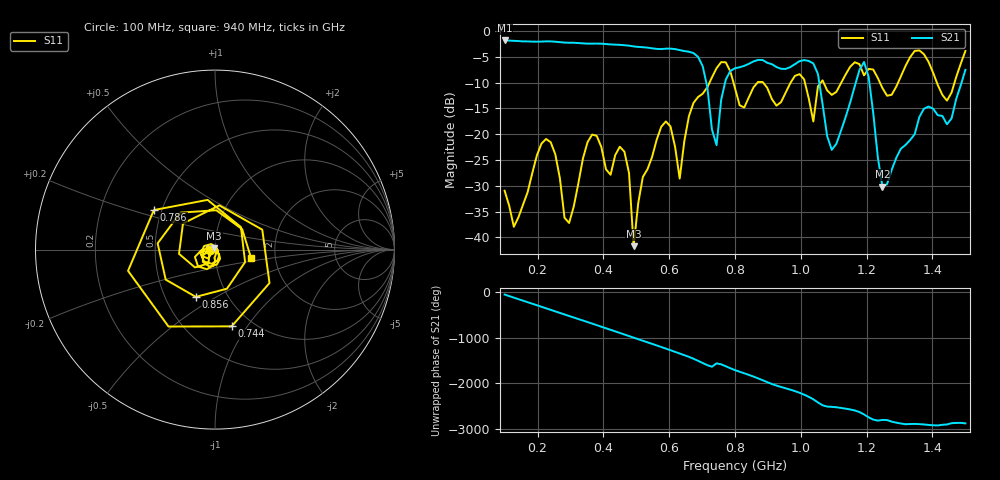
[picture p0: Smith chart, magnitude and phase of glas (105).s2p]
! NanoVNA-App
! Date: 2025-09-25 15:56:17
! Start: 100MHz Stop: 1,5GHz Points: 101
! S-Parameter data: F S11 S21 S12 S22
# Hz S RI R 50
!  Frequency  S11_Real  S11_Imag  S21_Real  S21_Imag  S12_Real  S12_Imag  S22_Real  S22_Imag
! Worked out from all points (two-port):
!   101 points, 100 MHz to 1.5 GHz, reference 50 ohm
!   highest |S21| = -1.80 dB at 100 MHz (marker M1); lowest = -30.1 dB at 1.248 GHz (marker M2)
!   |S21| within 3 dB of the highest: start of sweep to 684.3 MHz
!   lowest |S11| = -41.7 dB at 492 MHz (marker M3), VSWR 1.02, Z = 49.5 + j0.653 ohm
!   |S11| at or under -10 dB: start of sweep to 722.4 MHz; 795.4 MHz to 868.1 MHz (72.69 MHz wide, 8.74 % of centre); 885.7 MHz to 968.8 MHz (83.09 MHz wide, 8.96 % of centre) (the widest 3 of 7)
!   S12 and S22 are empty: the file has one direction only
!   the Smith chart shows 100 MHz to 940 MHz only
!   S11 on the Smith chart (normalised r, x): 100 MHz: 0.95, -0.01; 744 MHz: 0.80, -0.85; 786 MHz: 0.45, +0.24; 856 MHz: 0.71, -0.41; 940 MHz: 1.49, -0.14
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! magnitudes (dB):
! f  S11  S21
! 100 MHz  -31.0  -1.8
! 128 MHz  -38.0  -1.9
! 226 MHz  -20.9  -2.0
! 296 MHz  -37.2  -2.2
! 338 MHz  -24.7  -2.4
! 464 MHz  -23.4  -2.7
! 492 MHz  -41.7  -2.9
! 576 MHz  -18.5  -3.5
! 632 MHz  -28.6  -3.7
! 702 MHz  -12.1  -6.8
! 744 MHz  -7.2  -22.1
! 786 MHz  -7.8  -7.7
! 800 MHz  -11.1  -7.2
! 856 MHz  -10.9  -5.9
! 940 MHz  -13.8  -7.3
! 996 MHz  -8.3  -5.8
! 1.038 GHz  -17.5  -6.3
! 1.094 GHz  -12.4  -23.0
! 1.192 GHz  -8.6  -6.0
! 1.248 GHz  -11.0  -30.1
! 1.276 GHz  -12.3  -26.9
! 1.5 GHz  -3.8  -7.5
